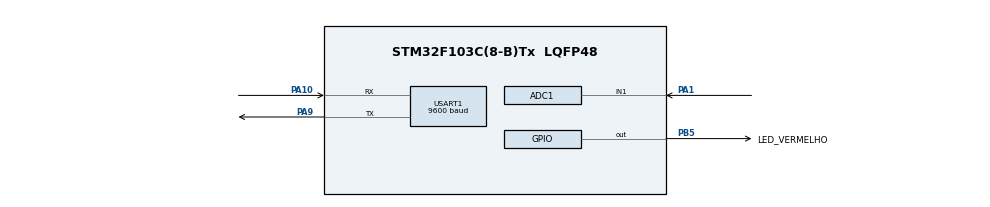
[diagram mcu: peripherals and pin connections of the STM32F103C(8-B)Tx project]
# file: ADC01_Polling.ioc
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Mcu.Family=STM32F1
ADC1.Rank-0\#ChannelRegularConversion=1
PA10.Mode=Asynchronous
USART1.BaudRate=9600
VP_SYS_VS_ND.Mode=No_Debug
ProjectManager.StackSize=0x400
PA9.Mode=Asynchronous
ProjectManager.TargetToolchain=STM32CubeIDE
PA9.Signal=USART1_TX
PA1.Signal=ADCx_IN1
ADC1.Channel-0\#ChannelRegularConversion=ADC_CHANNEL_1
board=custom
RCC.APB2Freq_Value=8000000
Mcu.Name=STM32F103C(8-B)Tx
ADC1.SamplingTime-0\#ChannelRegularConversion=ADC_SAMPLETIME_1CYCLE_5
PB5.Signal=GPIO_Output
Mcu.Package=LQFP48
ADC1.master=1
USART1.VirtualMode=VM_ASYNC
PA10.Signal=USART1_RX
ProjectManager.HeapSize=0x200
NVIC.PriorityGroup=NVIC_PRIORITYGROUP_4
ADC1.NbrOfConversionFlag=1
SH.ADCx_IN1.0=ADC1_IN1,IN1
PB5.GPIO_Label=LED_VERMELHO
RCC.APB1Freq_Value=8000000

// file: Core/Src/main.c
/* USER CODE BEGIN Header */
/**
  ******************************************************************************
  * @file           : main.c
  * @brief          : Main program body
  ******************************************************************************
  * @attention
  *
  * <h2><center>&copy; Copyright (c) 2021 STMicroelectronics.
  * All rights reserved.</center></h2>
  *
  * This software component is licensed by ST under BSD 3-Clause license,
  * the "License"; You may not use this file except in compliance with the
  * License. You may obtain a copy of the License at:
  *                        opensource.org/licenses/BSD-3-Clause
  *
  ******************************************************************************
  */
/* USER CODE END Header */
#include "main.h"

/* USER CODE BEGIN Includes */
#include <string.h>
#include <stdio.h>

/* USER CODE END Includes */

ADC_HandleTypeDef hadc1;

UART_HandleTypeDef huart1;

void SystemClock_Config(void);
static void MX_GPIO_Init(void);
static void MX_ADC1_Init(void);
static void MX_USART1_UART_Init(void);

/* USER CODE BEGIN 0 */
char DadoTX[50];

// guarda o valor da conversão ADC
uint16_t valc;
uint16_t voltage;

/* USER CODE END 0 */

int main(void)
{

  /* MCU Configuration--------------------------------------------------------*/

  /* Reset of all peripherals, Initializes the Flash interface and the Systick. */
  HAL_Init();

  /* Configure the system clock */
  SystemClock_Config();

  /* Initialize all configured peripherals */
  MX_GPIO_Init();
  MX_ADC1_Init();
  MX_USART1_UART_Init();
  /* USER CODE BEGIN 2 */

  // inicializa o periférico do ADC
  HAL_ADC_Start(&hadc1);
  /* USER CODE END 2 */

  /* Infinite loop */
  /* USER CODE BEGIN WHILE */
  while (1)
  {
	// inicializa a conversão, para modo simples o periférico deve ser
	// inicializado antes de toda conversão
	HAL_ADC_PollForConversion(&hadc1, HAL_MAX_DELAY);

	// a função HAL_ADC_GetValue retorna o valor da conversão em decimal
	valc = HAL_ADC_GetValue(&hadc1);

	voltage = ((3.3 * valc) / 4095) * 100;

	// sendo valc mais que (3,3 / 2) o led acende e menos apaga
	if (voltage < (330 / 2))
	{
		HAL_GPIO_WritePin(LED_VERMELHO_GPIO_Port, LED_VERMELHO_Pin, 1);
	}
	else
	{
		HAL_GPIO_WritePin(LED_VERMELHO_GPIO_Port, LED_VERMELHO_Pin, 0);
	}

	sprintf(DadoTX, "voltage: %hu\r\n", voltage);

	// transmite o valor da conversão para a UART
	HAL_UART_Transmit(&huart1, (uint8_t *)DadoTX, strlen(DadoTX), HAL_MAX_DELAY);

    /* USER CODE END WHILE */

  }
}

void SystemClock_Config(void)
{
  RCC_OscInitTypeDef RCC_OscInitStruct = {0};
  RCC_ClkInitTypeDef RCC_ClkInitStruct = {0};
  RCC_PeriphCLKInitTypeDef PeriphClkInit = {0};

  /** Initializes the RCC Oscillators according to the specified parameters
  * in the RCC_OscInitTypeDef structure.
  */
  RCC_OscInitStruct.OscillatorType = RCC_OSCILLATORTYPE_HSI;
  RCC_OscInitStruct.HSIState = RCC_HSI_ON;
  RCC_OscInitStruct.HSICalibrationValue = RCC_HSICALIBRATION_DEFAULT;
  RCC_OscInitStruct.PLL.PLLState = RCC_PLL_NONE;
  if (HAL_RCC_OscConfig(&RCC_OscInitStruct) != HAL_OK)
  {
    Error_Handler();
  }
  /** Initializes the CPU, AHB and APB buses clocks
  */
  RCC_ClkInitStruct.ClockType = RCC_CLOCKTYPE_HCLK|RCC_CLOCKTYPE_SYSCLK
                              |RCC_CLOCKTYPE_PCLK1|RCC_CLOCKTYPE_PCLK2;
  RCC_ClkInitStruct.SYSCLKSource = RCC_SYSCLKSOURCE_HSI;
  RCC_ClkInitStruct.AHBCLKDivider = RCC_SYSCLK_DIV1;
  RCC_ClkInitStruct.APB1CLKDivider = RCC_HCLK_DIV1;
  RCC_ClkInitStruct.APB2CLKDivider = RCC_HCLK_DIV1;

  if (HAL_RCC_ClockConfig(&RCC_ClkInitStruct, FLASH_LATENCY_0) != HAL_OK)
  {
    Error_Handler();
  }
  PeriphClkInit.PeriphClockSelection = RCC_PERIPHCLK_ADC;
  PeriphClkInit.AdcClockSelection = RCC_ADCPCLK2_DIV2;
  if (HAL_RCCEx_PeriphCLKConfig(&PeriphClkInit) != HAL_OK)
  {
    Error_Handler();
  }
}

static void MX_ADC1_Init(void)
{

  ADC_ChannelConfTypeDef sConfig = {0};

  /** Common config
  */
  hadc1.Instance = ADC1;
  hadc1.Init.ScanConvMode = ADC_SCAN_DISABLE;
  hadc1.Init.ContinuousConvMode = ENABLE;
  hadc1.Init.DiscontinuousConvMode = DISABLE;
  hadc1.Init.ExternalTrigConv = ADC_SOFTWARE_START;
  hadc1.Init.DataAlign = ADC_DATAALIGN_RIGHT;
  hadc1.Init.NbrOfConversion = 1;
  if (HAL_ADC_Init(&hadc1) != HAL_OK)
  {
    Error_Handler();
  }
  /** Configure Regular Channel
  */
  sConfig.Channel = ADC_CHANNEL_1;
  sConfig.Rank = ADC_REGULAR_RANK_1;
  sConfig.SamplingTime = ADC_SAMPLETIME_1CYCLE_5;
  if (HAL_ADC_ConfigChannel(&hadc1, &sConfig) != HAL_OK)
  {
    Error_Handler();
  }

}

static void MX_USART1_UART_Init(void)
{

  huart1.Instance = USART1;
  huart1.Init.BaudRate = 9600;
  huart1.Init.WordLength = UART_WORDLENGTH_8B;
  huart1.Init.StopBits = UART_STOPBITS_1;
  huart1.Init.Parity = UART_PARITY_NONE;
  huart1.Init.Mode = UART_MODE_TX_RX;
  huart1.Init.HwFlowCtl = UART_HWCONTROL_NONE;
  huart1.Init.OverSampling = UART_OVERSAMPLING_16;
  if (HAL_UART_Init(&huart1) != HAL_OK)
  {
    Error_Handler();
  }

}

static void MX_GPIO_Init(void)
{
  GPIO_InitTypeDef GPIO_InitStruct = {0};

  /* GPIO Ports Clock Enable */
  __HAL_RCC_GPIOA_CLK_ENABLE();
  __HAL_RCC_GPIOB_CLK_ENABLE();

  /*Configure GPIO pin Output Level */
  HAL_GPIO_WritePin(LED_VERMELHO_GPIO_Port, LED_VERMELHO_Pin, GPIO_PIN_RESET);

  /*Configure GPIO pin : LED_VERMELHO_Pin */
  GPIO_InitStruct.Pin = LED_VERMELHO_Pin;
  GPIO_InitStruct.Mode = GPIO_MODE_OUTPUT_PP;
  GPIO_InitStruct.Pull = GPIO_NOPULL;
  GPIO_InitStruct.Speed = GPIO_SPEED_FREQ_LOW;
  HAL_GPIO_Init(LED_VERMELHO_GPIO_Port, &GPIO_InitStruct);

}

void Error_Handler(void)
{
  __disable_irq();
  while (1)
  {
  }
}

/************************ (C) COPYRIGHT STMicroelectronics *****END OF FILE****/
